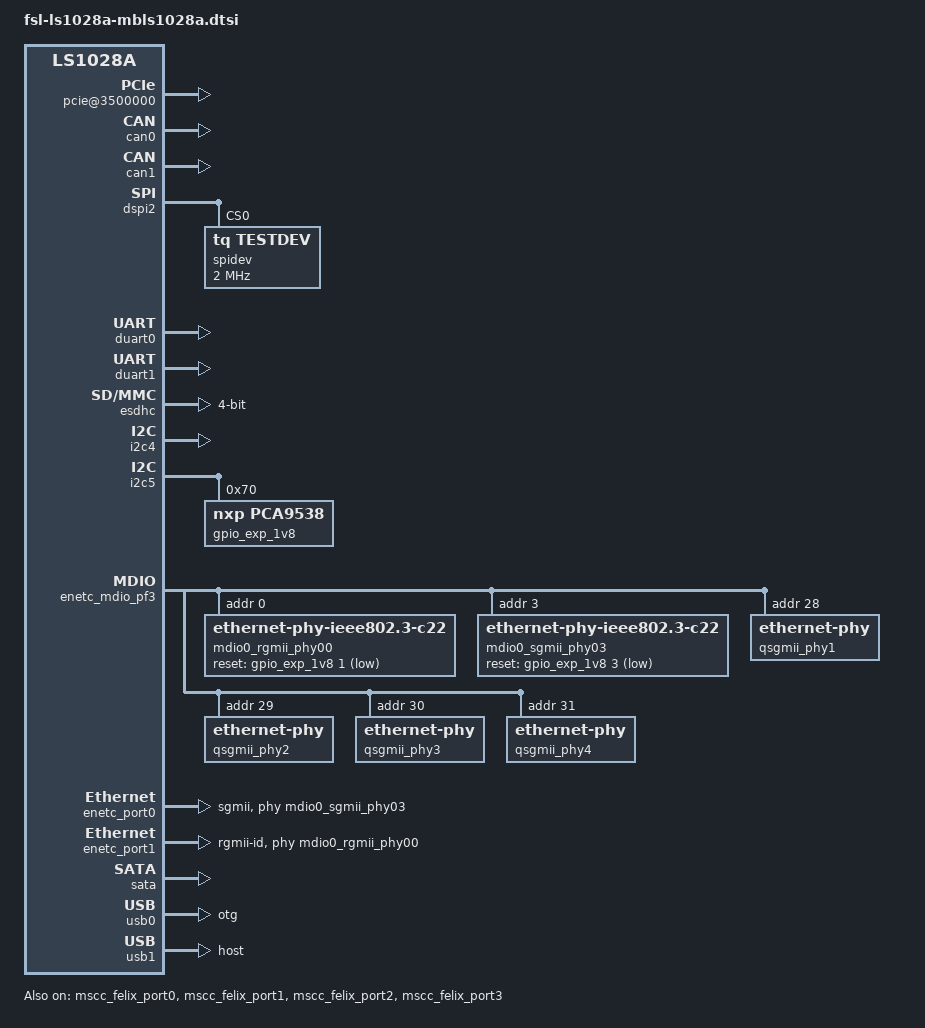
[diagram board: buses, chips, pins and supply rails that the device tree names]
// SPDX-License-Identifier: (GPL-2.0-or-later OR MIT)
/*
 * Common definitions for MBLS1028A and MBLS1028A-IND
 *
 * Copyright 2019-2020 TQ-Systems GmbH
 *
 * Authors: Michael Krummsdorf <michael.krummsdorf@tq-group.com>
 *          Matthias Schiffer <matthias.schiffer@tq-group.com>
 */

#include "fsl-ls1028a-tqmls1028a.dtsi"
#include <dt-bindings/gpio/gpio.h>
#include <dt-bindings/net/ti-dp83867.h>

/ {
	aliases {
		gpio0 = &gpio1;
		gpio1 = &gpio2;
		gpio2 = &gpio3;

		crypto = &crypto;
		serial0 = &duart0;
		serial1 = &duart1;
	};

	chosen {
		stdout-path = "serial0:115200n8";
	};

	soc {
		pcie@3500000 {
			status = "okay";
		};
	};

	reserved-memory {
		#address-cells = <2>;
		#size-cells = <2>;
		ranges;

		/* global autoconfigured region for contiguous allocations */
		linux,cma {
			compatible = "shared-dma-pool";
			reusable;
			/* 256 MiB */
			size = <0 0x10000000>;
			linux,cma-default;
		};
	};
};

&can0 {
	status = "okay";
};

&can1 {
	status = "okay";
};

&dspi2 {
	bus-num = <2>;
	status = "okay";

	spidev@0 {
		compatible = "tq,testdev";
		reg = <0>;
		spi-max-frequency = <2000000>;
		fsl,spi-cs-sck-delay = <1000000>;
		fsl,spi-sck-cs-delay = <50>;
	};
};

&duart0 {
	status = "okay";
};

&duart1 {
	status = "okay";
};

&esdhc {
	no-mmc;
	no-1-8-v;
	bus-width = <4>;
	status = "okay";
};

/* When switched to baseboard-internal i2c bus,
 * IIC5 has access to the following devices.
 */
&i2c4 {
	status = "okay";

	/* TI TUSB8041 */
	/* usbhub@44 */

	/* SI5338 - set up in U-Boot */
	/* clockgen@70 */
};

&i2c5 {
	status = "okay";

	gpio_exp_1v8: gpio-expander@70 {
		compatible = "nxp,pca9538";
		reg = <0x70>;
		gpio-controller;
		#gpio-cells = <2>;
		status = "okay";

		ec1_intn {
			gpio-hog;
			gpios = <0 0>;
			input;
			line-name = "EC1_INT#";
		};

		sgmii_intn {
			gpio-hog;
			gpios = <2 0>;
			input;
			line-name = "SGMII_INT#";
		};

		qsgmii_intn {
			gpio-hog;
			gpios = <4 0>;
			input;
			line-name = "QSGMII_INT#";
		};

		qsgmii_rstn {
			gpio-hog;
			gpios = <5 0>;
			output-high;
			line-name = "QSGMII_RESET#";
		};
	};
};

&enetc_mdio_pf3 {
	mdio0_rgmii_phy00: ethernet-phy@0 {
		compatible = "ethernet-phy-ieee802.3-c22";
		reg = <0x00>;
		reset-names = "phy";
		reset-gpios = <&gpio_exp_1v8 1 GPIO_ACTIVE_LOW>;
		reset-assert-us = <1>;
		reset-deassert-us = <200>;
		ti,rx-internal-delay = <0x9>;
		ti,tx-internal-delay = <0x7>;
		ti,led-function = <0x05b0>;
		ti,led-ctrl = <0x1001>;
		ti,clk-output-sel = <DP83867_CLK_O_SEL_OFF>;
		ti,fifo-depth = <DP83867_PHYCR_FIFO_DEPTH_4_B_NIB>;
	};

	mdio0_sgmii_phy03: ethernet-phy@3 {
		compatible = "ethernet-phy-ieee802.3-c22";
		reg = <0x03>;
		reset-names = "phy";
		reset-gpios = <&gpio_exp_1v8 3 GPIO_ACTIVE_LOW>;
		/*
		 * Long reset to work around PHY incorrect strap pin sampling
		 * due to external capacitors for SGMII
		 */
		reset-assert-us = <2500>;
		reset-deassert-us = <200>;
		ti,led-function = <0x05b0>;
		ti,led-ctrl = <0x1001>;
		ti,clk-output-sel = <DP83867_CLK_O_SEL_OFF>;
		ti,fifo-depth = <DP83867_PHYCR_FIFO_DEPTH_4_B_NIB>;
	};

	qsgmii_phy1: ethernet-phy@1c {
		reg = <0x1c>;
	};

	qsgmii_phy2: ethernet-phy@1d {
		reg = <0x1d>;
	};

	qsgmii_phy3: ethernet-phy@1e {
		reg = <0x1e>;
	};

	qsgmii_phy4: ethernet-phy@1f {
		reg = <0x1f>;
	};
};

&enetc_port0 {
	phy-handle = <&mdio0_sgmii_phy03>;
	phy-mode = "sgmii";
	status = "okay";
};

&enetc_port1 {
	phy-handle = <&mdio0_rgmii_phy00>;
	phy-mode = "rgmii-id";
	status = "okay";
};

/* l2switch ports */
&mscc_felix_port0 {
	phy-handle = <&qsgmii_phy1>;
	phy-mode = "qsgmii";
	status = "okay";
};

&mscc_felix_port1 {
	phy-handle = <&qsgmii_phy2>;
	phy-mode = "qsgmii";
	status = "okay";
};

&mscc_felix_port2 {
	phy-handle = <&qsgmii_phy3>;
	phy-mode = "qsgmii";
	status = "okay";
};

&mscc_felix_port3 {
	phy-handle = <&qsgmii_phy4>;
	phy-mode = "qsgmii";
	status = "okay";
};

&sata {
	status = "okay";
};

&usb0 {
	dr_mode = "otg";
	status = "okay";
};

&usb1 {
	dr_mode = "host";
	status = "okay";
};
